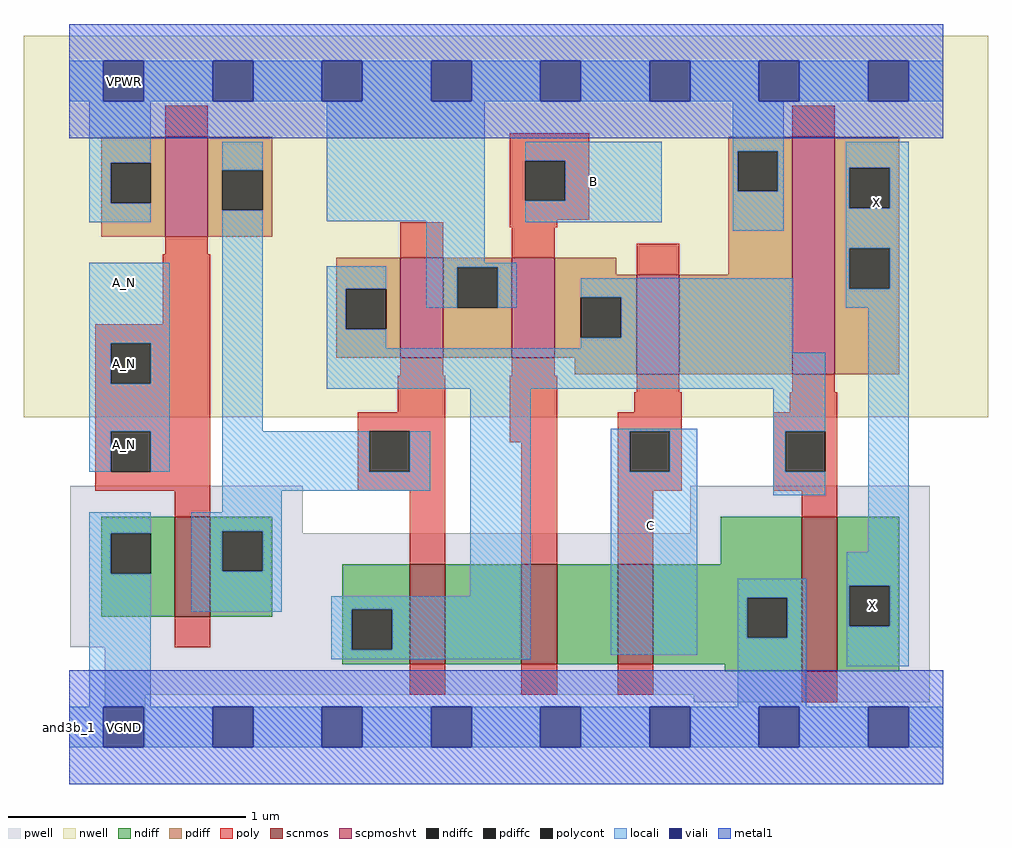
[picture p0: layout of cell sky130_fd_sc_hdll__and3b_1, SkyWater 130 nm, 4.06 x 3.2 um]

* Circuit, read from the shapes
.subckt sky130_fd_sc_hdll__and3b_1 A_N B C VGND VNB VPB VPWR X
XM1 n1 A_N VGND VNB sky130_fd_pr__nfet_01v8 w=0.42 l=0.15
XM2 n2 n1 n3 VNB sky130_fd_pr__nfet_01v8 w=0.42 l=0.15
XM3 n4 B n2 VNB sky130_fd_pr__nfet_01v8 w=0.42 l=0.15
XM4 VGND C n4 VNB sky130_fd_pr__nfet_01v8 w=0.42 l=0.15
XM5 X n3 VGND VNB sky130_fd_pr__nfet_01v8 w=0.65 l=0.15
XM6 n1 A_N VPWR VPB sky130_fd_pr__pfet_01v8_hvt w=0.42 l=0.18
XM7 VPWR n1 n3 VPB sky130_fd_pr__pfet_01v8_hvt w=0.42 l=0.18
XM8 n3 B VPWR VPB sky130_fd_pr__pfet_01v8_hvt w=0.42 l=0.18
XM9 VPWR C n3 VPB sky130_fd_pr__pfet_01v8_hvt w=0.42 l=0.18
XM10 X n3 VPWR VPB sky130_fd_pr__pfet_01v8_hvt w=1 l=0.18
.ends

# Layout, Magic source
magic
tech sky130A
magscale 1 2
<< nwell >>
rect -38 261 774 582
<< pwell >>
rect 1 163 197 203
rect 523 163 725 203
rect 1 67 725 163
rect 30 27 725 67
rect 30 -17 64 27
rect 526 21 725 27
<< scnmos >>
rect 89 93 119 177
rect 287 53 317 137
rect 381 53 411 137
rect 462 53 492 137
rect 617 47 647 177
<< scpmoshvt >>
rect 81 413 117 497
rect 279 311 315 395
rect 373 311 409 395
rect 478 297 514 381
rect 609 297 645 497
<< ndiff >>
rect 27 163 89 177
rect 27 129 35 163
rect 69 129 89 163
rect 27 93 89 129
rect 119 165 171 177
rect 119 131 129 165
rect 163 131 171 165
rect 549 137 617 177
rect 119 93 171 131
rect 230 99 287 137
rect 230 65 238 99
rect 272 65 287 99
rect 230 53 287 65
rect 317 53 381 137
rect 411 53 462 137
rect 492 109 617 137
rect 492 75 571 109
rect 605 75 617 109
rect 492 53 617 75
rect 552 47 617 53
rect 647 119 699 177
rect 647 85 657 119
rect 691 85 699 119
rect 647 47 699 85
<< pdiff >>
rect 27 475 81 497
rect 27 441 35 475
rect 69 441 81 475
rect 27 413 81 441
rect 117 469 171 497
rect 117 435 129 469
rect 163 435 171 469
rect 117 413 171 435
rect 555 485 609 497
rect 555 451 563 485
rect 597 451 609 485
rect 225 369 279 395
rect 225 335 233 369
rect 267 335 279 369
rect 225 311 279 335
rect 315 387 373 395
rect 315 353 327 387
rect 361 353 373 387
rect 315 311 373 353
rect 409 381 461 395
rect 555 381 609 451
rect 409 362 478 381
rect 409 328 431 362
rect 465 328 478 362
rect 409 311 478 328
rect 426 297 478 311
rect 514 297 609 381
rect 645 471 699 497
rect 645 437 657 471
rect 691 437 699 471
rect 645 403 699 437
rect 645 369 657 403
rect 691 369 699 403
rect 645 297 699 369
<< ndiffc >>
rect 35 129 69 163
rect 129 131 163 165
rect 238 65 272 99
rect 571 75 605 109
rect 657 85 691 119
<< pdiffc >>
rect 35 441 69 475
rect 129 435 163 469
rect 563 451 597 485
rect 233 335 267 369
rect 327 353 361 387
rect 431 328 465 362
rect 657 437 691 471
rect 657 369 691 403
<< poly >>
rect 81 497 117 523
rect 371 477 438 500
rect 609 497 645 523
rect 371 443 384 477
rect 418 443 438 477
rect 371 427 438 443
rect 81 398 117 413
rect 79 339 119 398
rect 279 395 315 425
rect 371 421 411 427
rect 373 395 409 421
rect 22 323 119 339
rect 22 289 35 323
rect 69 289 119 323
rect 478 381 514 407
rect 279 296 315 311
rect 373 296 409 311
rect 22 249 119 289
rect 277 265 317 296
rect 22 215 35 249
rect 69 215 119 249
rect 22 199 119 215
rect 243 249 317 265
rect 243 215 253 249
rect 287 215 317 249
rect 371 240 411 296
rect 478 282 514 297
rect 609 282 645 297
rect 476 265 516 282
rect 607 265 647 282
rect 243 199 317 215
rect 89 177 119 199
rect 287 137 317 199
rect 381 137 411 240
rect 462 249 516 265
rect 462 215 472 249
rect 506 215 516 249
rect 462 199 516 215
rect 593 249 647 265
rect 593 215 603 249
rect 637 215 647 249
rect 593 199 647 215
rect 462 137 492 199
rect 617 177 647 199
rect 89 67 119 93
rect 287 27 317 53
rect 381 27 411 53
rect 462 27 492 53
rect 617 21 647 47
<< polycont >>
rect 384 443 418 477
rect 35 289 69 323
rect 35 215 69 249
rect 253 215 287 249
rect 472 215 506 249
rect 603 215 637 249
<< locali >>
rect 0 527 29 561
rect 63 527 121 561
rect 155 527 213 561
rect 247 527 305 561
rect 339 527 397 561
rect 431 527 489 561
rect 523 527 581 561
rect 615 527 673 561
rect 707 527 736 561
rect 17 475 69 527
rect 17 441 35 475
rect 17 425 69 441
rect 129 469 163 493
rect 17 323 85 391
rect 17 289 35 323
rect 69 289 85 323
rect 17 249 85 289
rect 17 215 35 249
rect 69 215 85 249
rect 129 249 163 435
rect 217 426 350 527
rect 301 391 350 426
rect 384 477 499 493
rect 418 443 499 477
rect 384 425 499 443
rect 559 485 602 527
rect 559 451 563 485
rect 597 451 602 485
rect 559 418 602 451
rect 654 471 707 493
rect 654 437 657 471
rect 691 437 707 471
rect 654 403 707 437
rect 217 369 267 388
rect 217 335 233 369
rect 301 387 377 391
rect 301 353 327 387
rect 361 353 377 387
rect 431 362 610 378
rect 217 319 267 335
rect 465 328 610 362
rect 654 369 657 403
rect 691 369 707 403
rect 654 353 707 369
rect 431 319 610 328
rect 217 315 610 319
rect 217 285 637 315
rect 129 215 253 249
rect 287 215 304 249
rect 129 199 304 215
rect 129 181 179 199
rect 17 163 69 181
rect 17 129 35 163
rect 17 17 69 129
rect 103 165 179 181
rect 103 131 129 165
rect 163 131 179 165
rect 103 97 179 131
rect 338 110 389 285
rect 221 99 389 110
rect 221 65 238 99
rect 272 65 389 99
rect 221 57 389 65
rect 456 249 529 251
rect 456 215 472 249
rect 506 215 529 249
rect 456 61 529 215
rect 593 249 637 285
rect 593 215 603 249
rect 593 195 637 215
rect 673 147 707 353
rect 563 109 621 125
rect 563 75 571 109
rect 605 75 621 109
rect 563 17 621 75
rect 655 119 707 147
rect 655 85 657 119
rect 691 85 707 119
rect 655 51 707 85
rect 0 -17 29 17
rect 63 -17 121 17
rect 155 -17 213 17
rect 247 -17 305 17
rect 339 -17 397 17
rect 431 -17 489 17
rect 523 -17 581 17
rect 615 -17 673 17
rect 707 -17 736 17
<< viali >>
rect 29 527 63 561
rect 121 527 155 561
rect 213 527 247 561
rect 305 527 339 561
rect 397 527 431 561
rect 489 527 523 561
rect 581 527 615 561
rect 673 527 707 561
rect 29 -17 63 17
rect 121 -17 155 17
rect 213 -17 247 17
rect 305 -17 339 17
rect 397 -17 431 17
rect 489 -17 523 17
rect 581 -17 615 17
rect 673 -17 707 17
<< metal1 >>
rect 0 561 736 592
rect 0 527 29 561
rect 63 527 121 561
rect 155 527 213 561
rect 247 527 305 561
rect 339 527 397 561
rect 431 527 489 561
rect 523 527 581 561
rect 615 527 673 561
rect 707 527 736 561
rect 0 496 736 527
rect 0 17 736 48
rect 0 -17 29 17
rect 63 -17 121 17
rect 155 -17 213 17
rect 247 -17 305 17
rect 339 -17 397 17
rect 431 -17 489 17
rect 523 -17 581 17
rect 615 -17 673 17
rect 707 -17 736 17
rect 0 -48 736 -17
<< labels >>
flabel locali s 30 289 64 323 0 FreeSans 400 0 0 0 A_N
port 1 nsew signal input
flabel locali s 384 425 499 493 0 FreeSans 400 0 0 0 B
port 2 nsew signal input
flabel locali s 663 425 697 459 0 FreeSans 200 0 0 0 X
port 8 nsew signal output
flabel locali s 473 153 507 187 0 FreeSans 400 0 0 0 C
port 3 nsew signal input
flabel locali s 30 221 64 255 0 FreeSans 400 0 0 0 A_N
port 1 nsew signal input
flabel locali s 660 85 694 119 0 FreeSans 200 0 0 0 X
port 8 nsew signal output
flabel locali s 30 357 64 391 0 FreeSans 400 0 0 0 A_N
port 1 nsew signal input
flabel metal1 s 30 -17 64 17 0 FreeSans 200 0 0 0 VGND
port 4 nsew ground bidirectional
flabel metal1 s 30 527 64 561 0 FreeSans 200 0 0 0 VPWR
port 7 nsew power bidirectional
flabel nwell s 30 527 64 561 0 FreeSans 200 0 0 0 VPB
port 6 nsew power bidirectional
flabel pwell s 30 -17 64 17 0 FreeSans 200 0 0 0 VNB
port 5 nsew ground bidirectional
rlabel comment s 0 0 0 0 4 and3b_1
<< properties >>
string LEFsite unithd
string LEFclass CORE
string FIXED_BBOX 0 0 736 544
string GDS_FILE $PDKPATH/libs.ref/sky130_fd_sc_hdll/gds/sky130_fd_sc_hdll.gds
string LEFsymmetry X Y R90
string GDS_END 1811788
string GDS_START 1805382
string LEFproperties maskLayoutSubType "abstract" prCellType "standard" originalViewName "layout"
<< end >>
